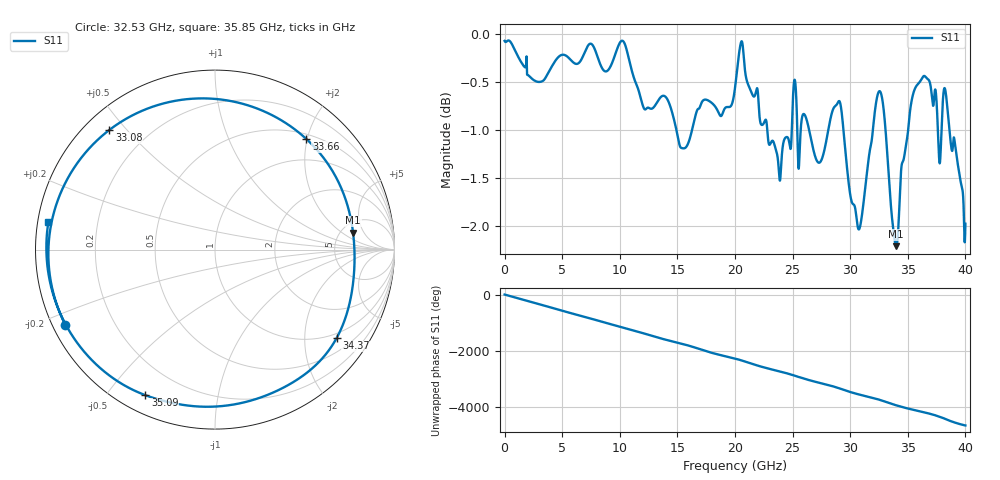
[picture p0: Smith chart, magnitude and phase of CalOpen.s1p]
! File created by SignalIntegrity v1.1.1: Signal and Power Integrity Tools
! https://github.com/TeledyneLeCroy/SignalIntegrity
# MHz MA S R 50.0
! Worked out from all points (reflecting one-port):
!   8000 points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, 5 MHz to 40 GHz, reference 50 ohm
!   lowest |S11| = -2.2 dB at 33.99 GHz (marker M1), VSWR 7.89, Z = 322 + j151 ohm
!   phase of S11 starts at -1 deg and turns -4671 deg over the sweep
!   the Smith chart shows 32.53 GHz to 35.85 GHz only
!   S11 on the Smith chart (normalised r, x): 32.53 GHz: 0.04, -0.24; 33.08 GHz: 0.07, +0.45; 33.66 GHz: 0.58, +1.99; 34.37 GHz: 0.85, -2.84; 35.09 GHz: 0.07, -0.63; 35.85 GHz: 0.03, +0.08
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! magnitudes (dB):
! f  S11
! 5 MHz  -0.1
! 2.835 GHz  -0.5
! 5.005 GHz  -0.2
! 8.825 GHz  -0.4
! 10.01 GHz  -0.1
! 12.1 GHz  -0.8
! 13.95 GHz  -0.7
! 15.01 GHz  -1.1
! 20 GHz  -0.6
! 20.58 GHz  -0.1
! 23.86 GHz  -1.5
! 25 GHz  -0.8
! 27.3 GHz  -1.3
! 29.05 GHz  -0.7
! 30 GHz  -1.7
! 30.86 GHz  -2.0
! 32.53 GHz  -0.6
! 33.08 GHz  -1.0
! 33.66 GHz  -1.9
! 33.99 GHz  -2.2
! 34.37 GHz  -1.5
! 35.01 GHz  -1.0
! 35.09 GHz  -0.9
! 35.85 GHz  -0.5
! 36.84 GHz  -0.5
! 37.77 GHz  -1.4
! 38.26 GHz  -0.6
! 40 GHz  -2.0
